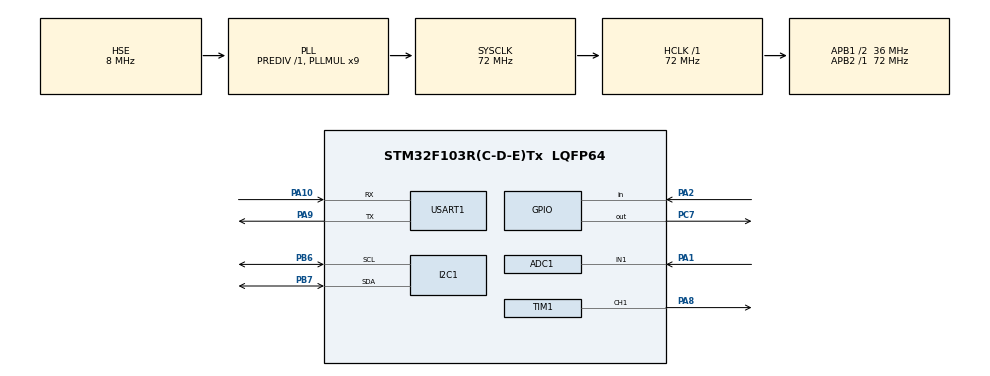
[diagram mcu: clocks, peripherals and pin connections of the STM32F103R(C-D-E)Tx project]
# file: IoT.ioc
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ADC1.Channel-0\#ChannelRegularConversion=ADC_CHANNEL_1
ADC1.NbrOfConversionFlag=1
ADC1.Rank-0\#ChannelRegularConversion=1
ADC1.SamplingTime-0\#ChannelRegularConversion=ADC_SAMPLETIME_1CYCLE_5
ADC1.master=1
Mcu.Family=STM32F1
Mcu.Name=STM32F103R(C-D-E)Tx
Mcu.Package=LQFP64
NVIC.PriorityGroup=NVIC_PRIORITYGROUP_4
NVIC.USART1_IRQn=true\:0\:0\:false\:false\:true\:true\:true\:true
PA1.Signal=ADCx_IN1
PA10.Mode=Asynchronous
PA10.Signal=USART1_RX
PA13.Mode=Serial_Wire
PA13.Signal=SYS_JTMS-SWDIO
PA14.Mode=Serial_Wire
PA14.Signal=SYS_JTCK-SWCLK
PA2.Signal=GPIO_Input
PA8.Signal=S_TIM1_CH1
PA9.Mode=Asynchronous
PA9.Signal=USART1_TX
PB6.Mode=I2C
PB6.Signal=I2C1_SCL
PB7.Mode=I2C
PB7.Signal=I2C1_SDA
PC7.Signal=GPIO_Output
PD0-OSC_IN.Mode=HSE-External-Oscillator
PD0-OSC_IN.Signal=RCC_OSC_IN
PD1-OSC_OUT.Mode=HSE-External-Oscillator
PD1-OSC_OUT.Signal=RCC_OSC_OUT
ProjectManager.HeapSize=0x200
ProjectManager.StackSize=0x400
ProjectManager.TargetToolchain=MDK-ARM V5.32
RCC.ADCPresc=RCC_ADCPCLK2_DIV6
RCC.AHBFreq_Value=72000000
RCC.APB1CLKDivider=RCC_HCLK_DIV2
RCC.APB1Freq_Value=36000000
RCC.APB1TimFreq_Value=72000000
RCC.APB2Freq_Value=72000000
RCC.APB2TimFreq_Value=72000000
RCC.HCLKFreq_Value=72000000
RCC.PLLMUL=RCC_PLL_MUL9
RCC.PLLSourceVirtual=RCC_PLLSOURCE_HSE
RCC.SYSCLKFreq_VALUE=72000000
RCC.SYSCLKSource=RCC_SYSCLKSOURCE_PLLCLK
RCC.USBFreq_Value=72000000
SH.ADCx_IN1.0=ADC1_IN1,IN1
SH.S_TIM1_CH1.0=TIM1_CH1,PWM Generation1 CH1
TIM1.AutoReloadPreload=TIM_AUTORELOAD_PRELOAD_ENABLE
TIM1.Channel-PWM\ Generation1\ CH1=TIM_CHANNEL_1
TIM1.Period=2000
TIM1.Prescaler=72-1
TIM1.Pulse-PWM\ Generation1\ CH1=1000-1
USART1.VirtualMode=VM_ASYNC
VP_TIM1_VS_ClockSourceINT.Mode=Internal
board=custom

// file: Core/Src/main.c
/* USER CODE BEGIN Header */
/**
 ******************************************************************************
 * @file           : main.c
 * @brief          : Main program body
 ******************************************************************************
 * @attention
 *
 * Copyright (c) 2024 STMicroelectronics.
 * All rights reserved.
 *
 * This software is licensed under terms that can be found in the LICENSE file
 * in the root directory of this software component.
 * If no LICENSE file comes with this software, it is provided AS-IS.
 *
 ******************************************************************************
 */
/* USER CODE END Header */
#include "main.h"
#include "adc.h"
#include "i2c.h"
#include "tim.h"
#include "usart.h"
#include "gpio.h"

/* USER CODE BEGIN Includes */
#include "AHT20.h"
#include "bmp280.h"
#include "IR.h"
#include "servo.h"
#include "SHTC3.h"
#include <stdio.h>
#include <stdlib.h>
/* USER CODE END Includes */

/* USER CODE BEGIN PV */
char rx_buffer[256];
uint8_t MSG_LEN = 7;
uint8_t light_state = 0;
uint8_t door_state = 0;
uint8_t aircon_state = 0;
uint8_t aircon_temp = 26;
uint8_t aircon_mode = 0;
uint32_t interval = 1*1000;
uint8_t door_channel = 1;
uint8_t light_channel = 2;
struct sensor_equipment sensor;
struct actuator_equipment actuator;
/* USER CODE END PV */

void SystemClock_Config(void);
/* USER CODE BEGIN PFP */
void getLightStrength(uint32_t *light);
void sensor_init();
/* USER CODE END PFP */

int main(void)
{

  /* MCU Configuration--------------------------------------------------------*/

  /* Reset of all peripherals, Initializes the Flash interface and the Systick. */
  HAL_Init();

  /* Configure the system clock */
  SystemClock_Config();

  /* Initialize all configured peripherals */
  MX_GPIO_Init();
  MX_ADC1_Init();
  MX_I2C1_Init();
  MX_TIM1_Init();
  MX_USART1_UART_Init();
  /* USER CODE BEGIN 2 */
  if (actuator.door_lock)
  {
    servo_init(door_channel);
  }
  if (actuator.light_switch)
  {
    servo_init(light_channel);
  }
  sensor_init();
  /* USER CODE END 2 */
  HAL_UART_Receive_IT(&huart1, (uint8_t *)rx_buffer, MSG_LEN);

  /* Infinite loop */
  /* USER CODE BEGIN WHILE */
  float temperature = 0;
  int32_t humidity = 0;
  uint32_t pressure = 0;
  uint32_t light = 0;
  uint8_t human = 0;
  while (1)
  {
    /* USER CODE END WHILE */
    HAL_GPIO_TogglePin(GPIOC, GPIO_PIN_7);
    getLightStrength(&light);
    getTempAndHumid(&hi2c1, &temperature, &humidity);
    getPressure(&hi2c1, &pressure);
    char message[100];
    if (HAL_GPIO_ReadPin(GPIOA, GPIO_PIN_2) == GPIO_PIN_SET)
    {
      human = 1;
    }
    else
    {
      human = 0;
    }
    HAL_UART_Transmit(&huart1, (uint8_t *)message, sprintf(message, "{T: %.2fC, H: %d%%, L: %dlx, M: %d, I: %d, P:%d}\n", temperature, humidity, light, human, light_state, pressure), 1000);
    HAL_Delay(interval);
  }
}

void SystemClock_Config(void)
{
  RCC_OscInitTypeDef RCC_OscInitStruct = {0};
  RCC_ClkInitTypeDef RCC_ClkInitStruct = {0};
  RCC_PeriphCLKInitTypeDef PeriphClkInit = {0};

  /** Initializes the RCC Oscillators according to the specified parameters
   * in the RCC_OscInitTypeDef structure.
   */
  RCC_OscInitStruct.OscillatorType = RCC_OSCILLATORTYPE_HSE;
  RCC_OscInitStruct.HSEState = RCC_HSE_ON;
  RCC_OscInitStruct.HSEPredivValue = RCC_HSE_PREDIV_DIV1;
  RCC_OscInitStruct.HSIState = RCC_HSI_ON;
  RCC_OscInitStruct.PLL.PLLState = RCC_PLL_ON;
  RCC_OscInitStruct.PLL.PLLSource = RCC_PLLSOURCE_HSE;
  RCC_OscInitStruct.PLL.PLLMUL = RCC_PLL_MUL9;
  if (HAL_RCC_OscConfig(&RCC_OscInitStruct) != HAL_OK)
  {
    Error_Handler();
  }

  /** Initializes the CPU, AHB and APB buses clocks
   */
  RCC_ClkInitStruct.ClockType = RCC_CLOCKTYPE_HCLK | RCC_CLOCKTYPE_SYSCLK | RCC_CLOCKTYPE_PCLK1 | RCC_CLOCKTYPE_PCLK2;
  RCC_ClkInitStruct.SYSCLKSource = RCC_SYSCLKSOURCE_PLLCLK;
  RCC_ClkInitStruct.AHBCLKDivider = RCC_SYSCLK_DIV1;
  RCC_ClkInitStruct.APB1CLKDivider = RCC_HCLK_DIV2;
  RCC_ClkInitStruct.APB2CLKDivider = RCC_HCLK_DIV1;

  if (HAL_RCC_ClockConfig(&RCC_ClkInitStruct, FLASH_LATENCY_2) != HAL_OK)
  {
    Error_Handler();
  }
  PeriphClkInit.PeriphClockSelection = RCC_PERIPHCLK_ADC;
  PeriphClkInit.AdcClockSelection = RCC_ADCPCLK2_DIV6;
  if (HAL_RCCEx_PeriphCLKConfig(&PeriphClkInit) != HAL_OK)
  {
    Error_Handler();
  }
}

/* USER CODE BEGIN 4 */
void sensor_init()
{
  if (shtc3_read_id(&hi2c1) == HAL_OK)
  {
    sensor.SHTC3 = 1;
  }
  if (AHT20_Init(&hi2c1) == HAL_OK)
  {
    sensor.AHT20 = 1;
  }
  bmp280_params_t params;
  bmp280_init_default_params(&params);
  if (bmp280_init(&hi2c1, &params) == HAL_OK)
  {
    sensor.BMP280 = 1;
  }
  if (sgp30_init() == HAL_OK)
  {
    sensor.SGP30 = 1;
  }
  actuator.servo = 0; // if there is a servo (not a switch)
  actuator.IR = 0;    // if there is an IR sensor
  actuator.light_switch = 0;
  actuator.door_lock = 1;
}

void getLightStrength(uint32_t *light)
{
  uint32_t digits = 12;
  HAL_ADC_Start(&hadc1);
  HAL_ADC_PollForConversion(&hadc1, 100);
  // *light = HAL_ADC_GetValue(&hadc1);
  *light = (1 << digits) - HAL_ADC_GetValue(&hadc1);
  // *light = (uint32_t)(*light * 1.0 / (1<<digits));
  HAL_ADC_Stop(&hadc1);
}

void getTempAndHumid(I2C_HandleTypeDef *hi2c, float *temp, int32_t *humid)
{
  if (sensor.SHTC3)
  {
    int32_t temp_raw, humid_raw;
    if (!shtc3_read_id(hi2c))
    {
      *temp = 0;
      *humid = 0;
    }
    else
    {
      if (shtc3_perform_measurements(hi2c, &temp_raw, &humid_raw))
      {
        *temp = temp_raw / 100.0;
        *humid = humid_raw;
      }
      else
      {
        *temp = 0;
        *humid = 0;
      }
    }
  }
  else if (sensor.AHT20)
  {
    AHT20_Measure();
    *temp = AHT20_Temp();
    *humid = AHT20_Humid();
  }
  else
  {
    *temp = 0;
    *humid = 0;
  }
}

void getPressure(I2C_HandleTypeDef *hi2c, uint32_t *pressure)
{
  if (sensor.BMP280)
  {
    float temp, pres, hum;
    bmp280_read_float(&hi2c1, &temp, &pres, &hum);
    *pressure = (uint32_t)(pres * 100);
  }
  else
  {
    *pressure = 0;
  }
}

void HAL_UART_RxCpltCallback(UART_HandleTypeDef *huart)
{
  if (huart->Instance == USART1)
  {
    char message[] = "\"%%3d %%3d %%3d %%3d\"%%(door, aircon, light, interval)\n";
    if (rx_buffer[6] == '?')
    {
      HAL_UART_Transmit(&huart1, (uint8_t *)message, 100, 1000);
    }
    else
    {
      uint8_t recv_door = atoi(rx_buffer);
      uint8_t recv_light = atoi(rx_buffer+7);
      uint8_t recv_aircon_power = rx_buffer[4] - '0';
      uint8_t recv_aircon_temp = rx_buffer[5] - '0';  // 0 down, 1 stay, 2 up
      uint8_t recv_aircon_mode = rx_buffer[6] - '0';
      uint16_t recv_interval = atoi(rx_buffer + 10);
      HAL_UART_Transmit(&huart1, (uint8_t *)rx_buffer, MSG_LEN, 1000);

      if (actuator.door_lock && recv_door != door_state)
      {
        if (recv_door == 1)
        {
          door_state = 1;
          servo_set_angle(door_channel, 0);
        }
        else
        {
          door_state = 0;
          servo_set_angle(door_channel, 180);
        }
      }

      if (actuator.light_switch && recv_light != light_state)
      {
        if (recv_light == 1)
        {
          light_state = 1;
          servo_set_angle(light_channel, 70);
        }
        else
        {
          light_state = 0;
          servo_set_angle(light_channel, 112);
        }
      }

      if (recv_aircon_power == 1)
      {
        aircon_state = 1;
        IR_SetPower(recv_aircon_power);
        IR_SetTemperature(recv_aircon_temp + aircon_temp - 1);
        IR_SetMode(recv_aircon_mode);
      }
      else
      {
        aircon_state = 0;
        IR_SetPower(recv_aircon_power);
      }

      if (recv_interval == 0)
      {
        recv_interval = 1;
      }
      interval = recv_interval * 1000;
    }
  }
  HAL_UART_Receive_IT(&huart1, (uint8_t *)rx_buffer, MSG_LEN);
}

/* USER CODE END 4 */

void Error_Handler(void)
{
  __disable_irq();
  while (1)
  {
  }
}
